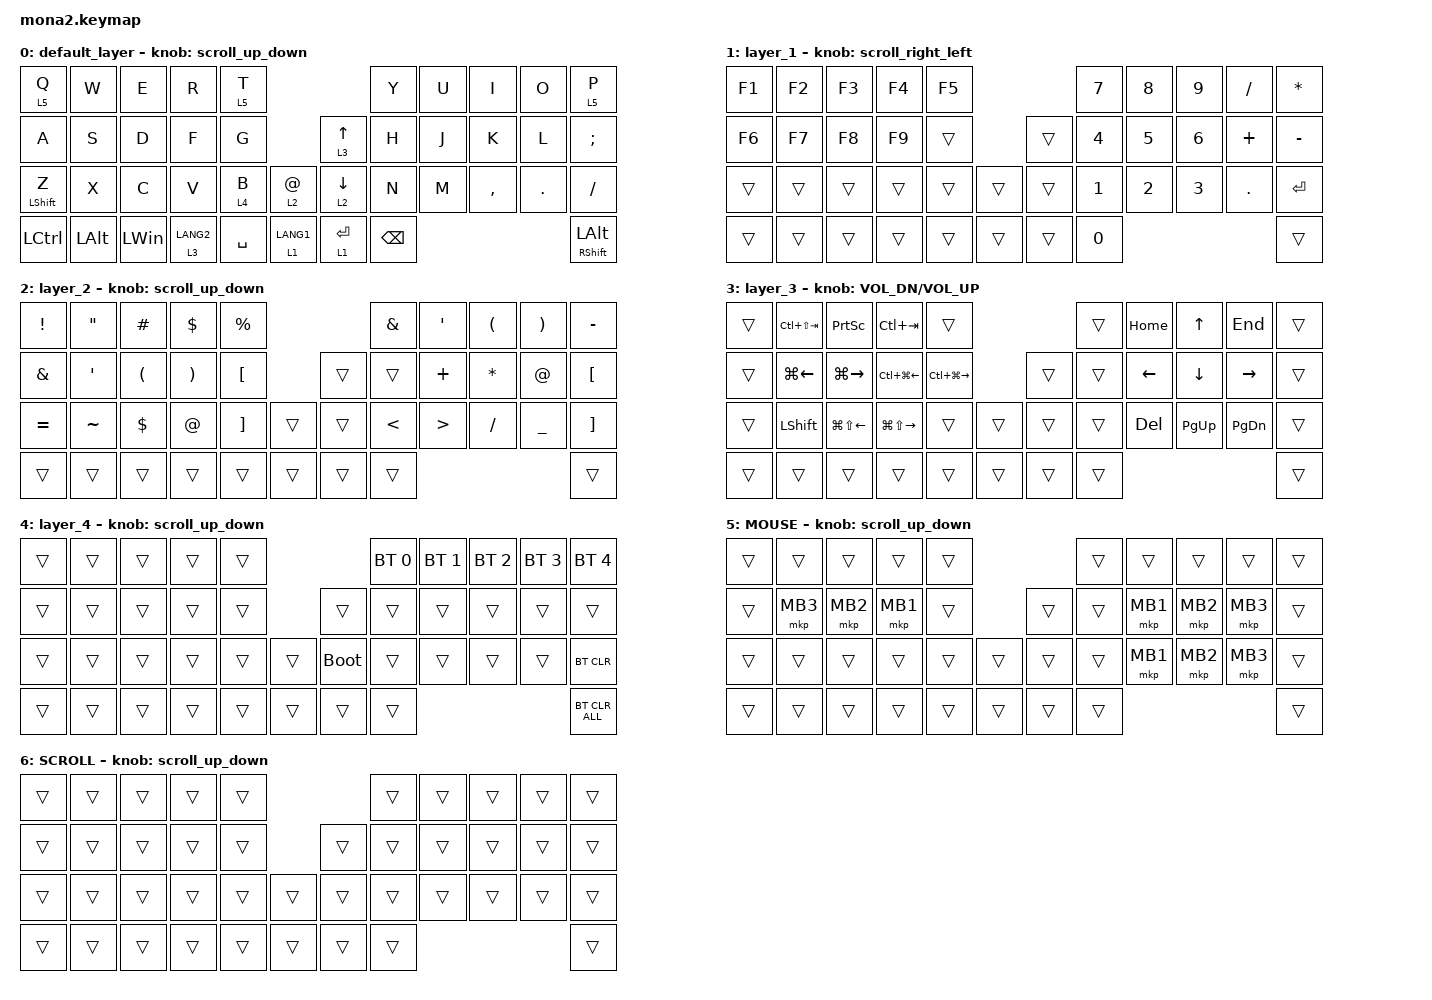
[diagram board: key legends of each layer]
#include <input/processors.dtsi>
#include <dt-bindings/zmk/input_transform.h>
#include <zephyr/dt-bindings/input/input-event-codes.h>
#include <behaviors.dtsi>
#include <dt-bindings/zmk/bt.h>
#include <dt-bindings/zmk/keys.h>
#include <dt-bindings/zmk/pointing.h>

#define ZMK_POINTING_DEFAULT_SCRL_VAL 100
#define MOUSE 5
#define SCROLL 6

&mt {
    flavor = "balanced";
    quick-tap-ms = <0>;
};

&lt {
    quick-tap-ms = <300>;
    flavor = "balanced";
};

/ {
    combos {
        compatible = "zmk,combos";

        layer4_ESC {
            bindings = <&lt 4 ESC>;
            key-positions = <39 38>;
        };

        tab {
            bindings = <&kp TAB>;
            key-positions = <11 12>;
        };
    };

    macros {
        to_layer_0: to_layer_0 {
            compatible = "zmk,behavior-macro-one-param";
            #binding-cells = <1>;
            bindings = <&to 0 &macro_param_1to1 &kp MACRO_PLACEHOLDER>;
            label = "TO_LAYER_0";
        };
    };

    behaviors {
        lt_to_layer_0: lt_to_layer_0 {
            compatible = "zmk,behavior-hold-tap";
            label = "LAYER_TAP_TO_0";
            bindings = <&mo>, <&to_layer_0>;

            #binding-cells = <2>;
            tapping-term-ms = <200>;
        };

        scroll_up_down: mouse_wheel_up_down {
            compatible = "zmk,behavior-sensor-rotate";
            #sensor-binding-cells = <0>;
            bindings = <&msc SCRL_DOWN>, <&msc SCRL_UP>;

            tap-ms = <20>;
        };

        scroll_right_left: mouse_wheel_right_left {
            compatible = "zmk,behavior-sensor-rotate";
            #sensor-binding-cells = <0>;
            bindings = <&msc SCRL_LEFT>, <&msc SCRL_RIGHT>;

            tap-ms = <20>;
        };
    };

    keymap {
        compatible = "zmk,keymap";

        default_layer {
            bindings = <
&lt 5 Q           &kp W         &kp E         &kp R        &lt 5 T                                       &kp Y          &kp U  &kp I      &kp O    &lt 5 P
&kp A             &kp S         &kp D         &kp F        &kp G                       &lt 3 UP_ARROW    &kp H          &kp J  &kp K      &kp L    &kp SEMICOLON
&mt LEFT_SHIFT Z  &kp X         &kp C         &kp V        &lt 4 B    &lt 2 AT_SIGN    &lt 2 DOWN_ARROW  &kp N          &kp M  &kp COMMA  &kp DOT  &kp SLASH
&kp LCTRL         &kp LEFT_ALT  &kp LEFT_WIN  &lt 3 LANG2  &kp SPACE  &lt 1 LANG1      &lt 1 ENTER       &kp BACKSPACE                             &mt RIGHT_SHIFT LEFT_ALT
            >;

            sensor-bindings = <&scroll_up_down>;
        };

        layer_1 {
            bindings = <
&kp F1  &kp F2  &kp F3  &kp F4  &kp F5                    &kp NUMBER_7  &kp NUMBER_8  &kp NUMBER_9  &kp FSLH    &kp STAR
&kp F6  &kp F7  &kp F8  &kp F9  &trans            &trans  &kp NUMBER_4  &kp NUMBER_5  &kp NUMBER_6  &kp PLUS    &kp MINUS
&trans  &trans  &trans  &trans  &trans  &trans    &trans  &kp NUMBER_1  &kp NUMBER_2  &kp NUMBER_3  &kp PERIOD  &kp ENTER
&trans  &trans  &trans  &trans  &trans  &trans    &trans  &kp N0                                                &trans
            >;

            sensor-bindings = <&scroll_right_left>;
        };

        layer_2 {
            bindings = <
&kp EXCLAMATION  &kp DOUBLE_QUOTES  &kp POUND             &kp DOLLAR             &kp PERCENT                          &kp AMPERSAND  &kp SQT           &kp LEFT_PARENTHESIS  &kp RIGHT_PARENTHESIS  &kp MINUS
&kp AMPERSAND    &kp SQT            &kp LEFT_PARENTHESIS  &kp RIGHT_PARENTHESIS  &kp LEFT_BRACKET             &trans  &trans         &kp PLUS          &kp ASTERISK          &kp AT_SIGN            &kp LEFT_BRACKET
&kp EQUAL        &kp TILDE          &kp DOLLAR            &kp AT_SIGN            &kp RIGHT_BRACKET  &trans    &trans  &kp LESS_THAN  &kp GREATER_THAN  &kp SLASH             &kp UNDERSCORE         &kp RIGHT_BRACKET
&trans           &trans             &trans                &trans                 &trans             &trans    &trans  &trans                                                                        &trans
            >;

            sensor-bindings = <&scroll_up_down>;
        };

        layer_3 {
            bindings = <
&trans  &kp LC(LS(TAB))     &kp PRINTSCREEN         &kp LC(TAB)              &trans                                     &trans  &kp HOME        &kp UP_ARROW    &kp END          &trans
&trans  &kp LG(LEFT_ARROW)  &kp LG(RIGHT_ARROW)     &kp LC(LG(LEFT_ARROW))   &kp LC(LG(RIGHT_ARROW))            &trans  &trans  &kp LEFT_ARROW  &kp DOWN_ARROW  &kp RIGHT_ARROW  &trans
&trans  &kp LEFT_SHIFT      &kp LG(LS(LEFT_ARROW))  &kp LG(LS(RIGHT_ARROW))  &trans                   &trans    &trans  &trans  &kp DELETE      &kp PAGE_UP     &kp PAGE_DOWN    &trans
&trans  &trans              &trans                  &trans                   &trans                   &trans    &trans  &trans                                                   &trans
            >;

            sensor-bindings = <&inc_dec_kp C_VOL_DN C_VOL_UP>;
        };

        layer_4 {
            bindings = <
&trans  &trans  &trans  &trans  &trans                         &bt BT_SEL 0  &bt BT_SEL 1  &bt BT_SEL 2  &bt BT_SEL 3  &bt BT_SEL 4
&trans  &trans  &trans  &trans  &trans            &trans       &trans        &trans        &trans        &trans        &trans
&trans  &trans  &trans  &trans  &trans  &trans    &bootloader  &trans        &trans        &trans        &trans        &bt BT_CLR
&trans  &trans  &trans  &trans  &trans  &trans    &trans       &trans                                                  &bt BT_CLR_ALL
            >;

            sensor-bindings = <&scroll_up_down>;
        };

        MOUSE {
            bindings = <
&trans  &trans    &trans    &trans    &trans                    &trans  &trans    &trans    &trans    &trans
&trans  &mkp MB3  &mkp MB2  &mkp MB1  &trans            &trans  &trans  &mkp MB1  &mkp MB2  &mkp MB3  &trans
&trans  &trans    &trans    &trans    &trans  &trans    &trans  &trans  &mkp MB1  &mkp MB2  &mkp MB3  &trans
&trans  &trans    &trans    &trans    &trans  &trans    &trans  &trans                                &trans
            >;

            sensor-bindings = <&scroll_up_down>;
        };

        SCROLL {
            bindings = <
&trans  &trans  &trans  &trans  &trans                    &trans  &trans  &trans  &trans  &trans
&trans  &trans  &trans  &trans  &trans            &trans  &trans  &trans  &trans  &trans  &trans
&trans  &trans  &trans  &trans  &trans  &trans    &trans  &trans  &trans  &trans  &trans  &trans
&trans  &trans  &trans  &trans  &trans  &trans    &trans  &trans                          &trans
            >;

            sensor-bindings = <&scroll_up_down>;
        };
    };
};
